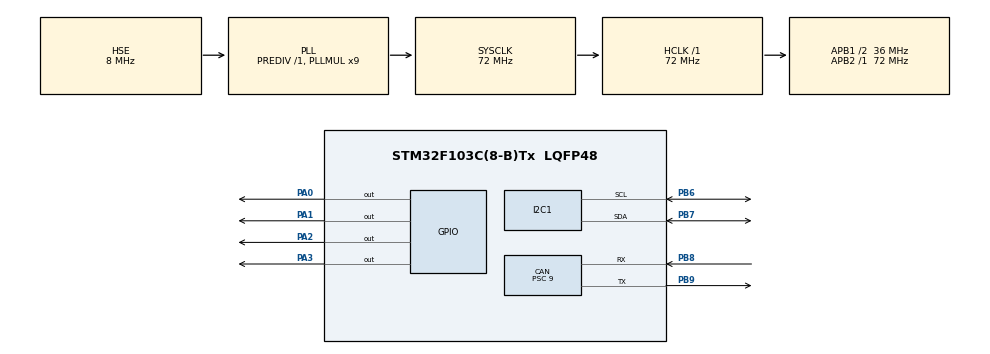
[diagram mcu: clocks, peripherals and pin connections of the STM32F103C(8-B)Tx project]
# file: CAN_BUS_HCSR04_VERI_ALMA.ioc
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CAN.BS1=CAN_BS1_10TQ
CAN.BS2=CAN_BS2_5TQ
CAN.CalculateBaudRate=250000
CAN.CalculateTimeBit=4000
CAN.CalculateTimeQuantum=250.0
CAN.Prescaler=9
Mcu.Family=STM32F1
Mcu.Name=STM32F103C(8-B)Tx
Mcu.Package=LQFP48
NVIC.PriorityGroup=NVIC_PRIORITYGROUP_4
PA0-WKUP.Signal=GPIO_Output
PA1.Signal=GPIO_Output
PA13.Mode=Serial_Wire
PA13.Signal=SYS_JTMS-SWDIO
PA14.Mode=Serial_Wire
PA14.Signal=SYS_JTCK-SWCLK
PA2.Signal=GPIO_Output
PA3.Signal=GPIO_Output
PB6.Mode=I2C
PB6.Signal=I2C1_SCL
PB7.Mode=I2C
PB7.Signal=I2C1_SDA
PB8.Mode=CAN_Activate
PB8.Signal=CAN_RX
PB9.Mode=CAN_Activate
PB9.Signal=CAN_TX
PD0-OSC_IN.Mode=HSE-External-Oscillator
PD0-OSC_IN.Signal=RCC_OSC_IN
PD1-OSC_OUT.Mode=HSE-External-Oscillator
PD1-OSC_OUT.Signal=RCC_OSC_OUT
ProjectManager.HeapSize=0x200
ProjectManager.StackSize=0x400
ProjectManager.TargetToolchain=STM32CubeIDE
RCC.AHBFreq_Value=72000000
RCC.APB1CLKDivider=RCC_HCLK_DIV2
RCC.APB1Freq_Value=36000000
RCC.APB1TimFreq_Value=72000000
RCC.APB2Freq_Value=72000000
RCC.APB2TimFreq_Value=72000000
RCC.HCLKFreq_Value=72000000
RCC.PLLMUL=RCC_PLL_MUL9
RCC.PLLSourceVirtual=RCC_PLLSOURCE_HSE
RCC.SYSCLKFreq_VALUE=72000000
RCC.SYSCLKSource=RCC_SYSCLKSOURCE_PLLCLK
RCC.USBFreq_Value=72000000
board=custom

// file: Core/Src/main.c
/* USER CODE BEGIN Header */
/**
  ******************************************************************************
  * @file           : main.c
  * @brief          : Main program body
  ******************************************************************************
  * @attention
  *
  * Copyright (c) 2024 STMicroelectronics.
  * All rights reserved.
  *
  * This software is licensed under terms that can be found in the LICENSE file
  * in the root directory of this software component.
  * If no LICENSE file comes with this software, it is provided AS-IS.
  *
  ******************************************************************************
  */
/* USER CODE END Header */
#include "main.h"

CAN_HandleTypeDef hcan;

I2C_HandleTypeDef hi2c1;

/* USER CODE BEGIN PV */

CAN_RxHeaderTypeDef pRxHeader;
CAN_TxHeaderTypeDef pHeader;
CAN_FilterTypeDef sFilterConfig;
uint8_t hcsr_data[1];
uint8_t veri;

uint8_t b=0;
uint8_t a=1;
/* USER CODE END PV */

void SystemClock_Config(void);
static void MX_GPIO_Init(void);
static void MX_CAN_Init(void);
static void MX_I2C1_Init(void);

int main(void)
{

  /* MCU Configuration--------------------------------------------------------*/

  /* Reset of all peripherals, Initializes the Flash interface and the Systick. */
  HAL_Init();

  /* Configure the system clock */
  SystemClock_Config();

  /* Initialize all configured peripherals */
  MX_GPIO_Init();
  MX_CAN_Init();
  MX_I2C1_Init();
  /* USER CODE BEGIN 2 */

  HAL_CAN_Start(&hcan);

  HAL_CAN_ActivateNotification(&hcan, CAN_IT_RX_FIFO0_MSG_PENDING);

  pHeader.DLC=1;
  pHeader.IDE=CAN_ID_STD;
  pHeader.RTR=CAN_RTR_DATA;
  pHeader.StdId=0x0130;

  sFilterConfig.FilterActivation=ENABLE;
  sFilterConfig.FilterBank=0;
  sFilterConfig.FilterFIFOAssignment=CAN_FILTER_FIFO0;
  sFilterConfig.FilterIdHigh=0;
  sFilterConfig.FilterIdLow=0;
  sFilterConfig.FilterMaskIdHigh=0;
  sFilterConfig.FilterMaskIdLow=0;
  sFilterConfig.FilterMode=CAN_FILTERMODE_IDMASK;
  sFilterConfig.FilterScale=CAN_FILTERSCALE_32BIT;

  HAL_CAN_ConfigFilter(&hcan, &sFilterConfig);

lcd_init();
  lcd_send_cmd(0x80);
  lcd_send_string(" ADC VERI OKUMA:");

  /* USER CODE END 2 */

  /* Infinite loop */
  while (1)
  {

    /* USER CODE BEGIN 3 */

	           HAL_CAN_GetRxMessage(&hcan, CAN_RX_FIFO0, &pRxHeader, hcsr_data);

	           veri=hcsr_data[0];

	           if(pRxHeader.StdId ==304)
	          	  {

	          		  lcd_send_cmd(0x01);

	          		  	lcd_send_cmd(0x80);
	          		  	lcd_send_string("  mesafe  ");
	          		  	lcd_send_cmd(0xc0);

	          		    lcd_send_data(veri / 100 + 48);
	          		    lcd_send_data((veri / 10) % 10 + 48);
	          		  	lcd_send_data(veri % 10 + 48);

	          	  }

	/*  if(hcsr_data>6 &&hcsr_data<12)
	  {

		  HAL_GPIO_WritePin(GPIOA, GPIO_PIN_0, GPIO_PIN_SET);
		  HAL_GPIO_WritePin(GPIOA, GPIO_PIN_1 |  GPIO_PIN_2 | GPIO_PIN_3 , GPIO_PIN_RESET);
	  }else if(hcsr_data>12 && hcsr_data<18)
	  {
		  HAL_GPIO_WritePin(GPIOA, GPIO_PIN_1, GPIO_PIN_SET);
		  HAL_GPIO_WritePin(GPIOA, GPIO_PIN_0 |  GPIO_PIN_2 | GPIO_PIN_3 , GPIO_PIN_RESET);

	  }
	  else if(hcsr_data>18 && hcsr_data<24)
	  {
		  HAL_GPIO_WritePin(GPIOA, GPIO_PIN_2, GPIO_PIN_SET);
		  HAL_GPIO_WritePin(GPIOA, GPIO_PIN_0 |  GPIO_PIN_1 | GPIO_PIN_3 , GPIO_PIN_RESET);

	  }
	  else if(hcsr_data>24)
	  {
		  HAL_GPIO_WritePin(GPIOA, GPIO_PIN_3, GPIO_PIN_SET);
		  HAL_GPIO_WritePin(GPIOA, GPIO_PIN_0 |  GPIO_PIN_1 | GPIO_PIN_2 , GPIO_PIN_RESET);
	  }
	 else
	  {
		  HAL_GPIO_WritePin(GPIOA, GPIO_PIN_3, GPIO_PIN_SET);
		 		  HAL_GPIO_WritePin(GPIOA, GPIO_PIN_0 |  GPIO_PIN_1 | GPIO_PIN_2 , GPIO_PIN_SET);
	  }*/
  }
  /* USER CODE END 3 */
}

void SystemClock_Config(void)
{
  RCC_OscInitTypeDef RCC_OscInitStruct = {0};
  RCC_ClkInitTypeDef RCC_ClkInitStruct = {0};

  /** Initializes the RCC Oscillators according to the specified parameters
  * in the RCC_OscInitTypeDef structure.
  */
  RCC_OscInitStruct.OscillatorType = RCC_OSCILLATORTYPE_HSE;
  RCC_OscInitStruct.HSEState = RCC_HSE_ON;
  RCC_OscInitStruct.HSEPredivValue = RCC_HSE_PREDIV_DIV1;
  RCC_OscInitStruct.HSIState = RCC_HSI_ON;
  RCC_OscInitStruct.PLL.PLLState = RCC_PLL_ON;
  RCC_OscInitStruct.PLL.PLLSource = RCC_PLLSOURCE_HSE;
  RCC_OscInitStruct.PLL.PLLMUL = RCC_PLL_MUL9;
  if (HAL_RCC_OscConfig(&RCC_OscInitStruct) != HAL_OK)
  {
    Error_Handler();
  }

  /** Initializes the CPU, AHB and APB buses clocks
  */
  RCC_ClkInitStruct.ClockType = RCC_CLOCKTYPE_HCLK|RCC_CLOCKTYPE_SYSCLK
                              |RCC_CLOCKTYPE_PCLK1|RCC_CLOCKTYPE_PCLK2;
  RCC_ClkInitStruct.SYSCLKSource = RCC_SYSCLKSOURCE_PLLCLK;
  RCC_ClkInitStruct.AHBCLKDivider = RCC_SYSCLK_DIV1;
  RCC_ClkInitStruct.APB1CLKDivider = RCC_HCLK_DIV2;
  RCC_ClkInitStruct.APB2CLKDivider = RCC_HCLK_DIV1;

  if (HAL_RCC_ClockConfig(&RCC_ClkInitStruct, FLASH_LATENCY_2) != HAL_OK)
  {
    Error_Handler();
  }
}

static void MX_CAN_Init(void)
{

  hcan.Instance = CAN1;
  hcan.Init.Prescaler = 9;
  hcan.Init.Mode = CAN_MODE_NORMAL;
  hcan.Init.SyncJumpWidth = CAN_SJW_1TQ;
  hcan.Init.TimeSeg1 = CAN_BS1_10TQ;
  hcan.Init.TimeSeg2 = CAN_BS2_5TQ;
  hcan.Init.TimeTriggeredMode = DISABLE;
  hcan.Init.AutoBusOff = DISABLE;
  hcan.Init.AutoWakeUp = DISABLE;
  hcan.Init.AutoRetransmission = DISABLE;
  hcan.Init.ReceiveFifoLocked = DISABLE;
  hcan.Init.TransmitFifoPriority = DISABLE;
  if (HAL_CAN_Init(&hcan) != HAL_OK)
  {
    Error_Handler();
  }

}

static void MX_I2C1_Init(void)
{

  hi2c1.Instance = I2C1;
  hi2c1.Init.ClockSpeed = 100000;
  hi2c1.Init.DutyCycle = I2C_DUTYCYCLE_2;
  hi2c1.Init.OwnAddress1 = 0;
  hi2c1.Init.AddressingMode = I2C_ADDRESSINGMODE_7BIT;
  hi2c1.Init.DualAddressMode = I2C_DUALADDRESS_DISABLE;
  hi2c1.Init.OwnAddress2 = 0;
  hi2c1.Init.GeneralCallMode = I2C_GENERALCALL_DISABLE;
  hi2c1.Init.NoStretchMode = I2C_NOSTRETCH_DISABLE;
  if (HAL_I2C_Init(&hi2c1) != HAL_OK)
  {
    Error_Handler();
  }

}

static void MX_GPIO_Init(void)
{
  GPIO_InitTypeDef GPIO_InitStruct = {0};

  /* GPIO Ports Clock Enable */
  __HAL_RCC_GPIOD_CLK_ENABLE();
  __HAL_RCC_GPIOA_CLK_ENABLE();
  __HAL_RCC_GPIOB_CLK_ENABLE();

  /*Configure GPIO pin Output Level */
  HAL_GPIO_WritePin(GPIOA, GPIO_PIN_0|GPIO_PIN_1|GPIO_PIN_2|GPIO_PIN_3, GPIO_PIN_RESET);

  /*Configure GPIO pins : PA0 PA1 PA2 PA3 */
  GPIO_InitStruct.Pin = GPIO_PIN_0|GPIO_PIN_1|GPIO_PIN_2|GPIO_PIN_3;
  GPIO_InitStruct.Mode = GPIO_MODE_OUTPUT_PP;
  GPIO_InitStruct.Pull = GPIO_NOPULL;
  GPIO_InitStruct.Speed = GPIO_SPEED_FREQ_LOW;
  HAL_GPIO_Init(GPIOA, &GPIO_InitStruct);

}

void Error_Handler(void)
{
  __disable_irq();
  while (1)
  {
  }
}
